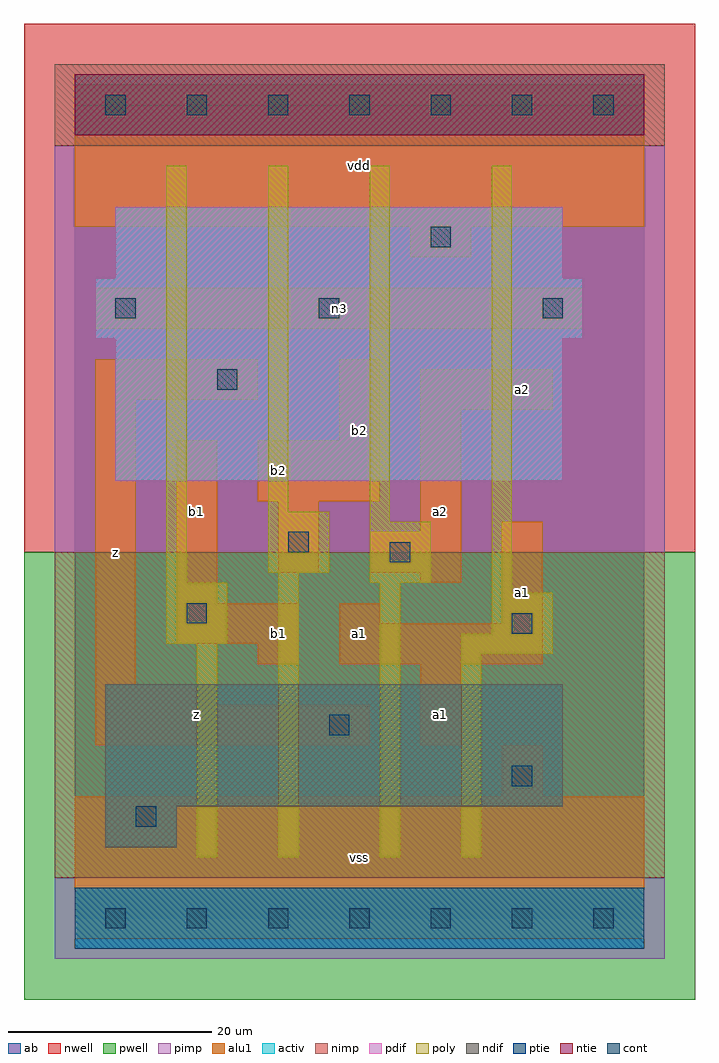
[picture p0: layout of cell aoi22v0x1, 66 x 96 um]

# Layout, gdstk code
import gdstk
lib = gdstk.Library(unit=1e-6, precision=1e-09)
def R(c, l, rs):  # rectangles x0, y0, x1, y1
    for r in rs: c.add(gdstk.rectangle(r[:2], r[2:], *l))
def A(c, l, x, y, w, h, nx, ny, dx, dy):  # array of equal rectangles
    R(c, l, [(x+i*dx, y+j*dy, x+i*dx+w, y+j*dy+h) for i in range(nx) for j in range(ny)])
ndif = (3, 0)
pdif = (4, 0)
ntie = (5, 0)
ptie = (6, 0)
cont = (25, 0)
pwell = (41, 0)
nwell = (42, 0)
activ = (43, 0)
pimp = (44, 0)
nimp = (45, 0)
poly = (46, 0)
alu1 = (49, 0)
ab = (63, 0)

aoi22v0x1 = lib.new_cell('aoi22v0x1')
R(aoi22v0x1, ndif, [(3,7,10,11), (3,11,48,23)])
R(aoi22v0x1, pdif, [(4,43,48,57), (2,57,50,63), (4,63,48,70)])
R(aoi22v0x1, ntie, [(0,77,56,83)])
R(aoi22v0x1, ptie, [(0,-3,56,3)])
A(aoi22v0x1, cont, 3, -1, 2, 2, 7, 2, 8, 80)
R(aoi22v0x1, cont, [(6,9,8,11), (43,13,45,15), (25,18,27,20), (43,28,45,30), (11,29,13,31), (31,35,33,37), (21,36,23,38), (14,52,16,54), (4,59,6,61), (24,59,26,61), (46,59,48,61), (35,66,37,68)])
R(aoi22v0x1, pwell, [(-5,-8,61,36)])
R(aoi22v0x1, nwell, [(-5,36,61,88)])
R(aoi22v0x1, activ, [(0,-3,56,3), (3,7,10,11), (3,11,48,23), (4,43,48,57), (2,57,50,63), (4,63,48,70), (0,77,56,83)])
R(aoi22v0x1, pimp, [(-2,-4,58,4), (-2,36,58,76)])
R(aoi22v0x1, nimp, [(-2,4,58,36), (-2,76,58,84)])
R(aoi22v0x1, poly, [(12,6,14,27), (20,6,22,34), (30,6,32,33), (38,6,40,26), (38,26,47,28), (9,27,15,33), (41,28,47,32), (41,32,43,74), (9,33,11,74), (29,33,35,39), (19,34,25,40), (29,39,31,74), (19,40,21,74)])
R(aoi22v0x1, alu1, [(0,-2,56,12), (42,12,46,17), (2,17,29,21), (34,17,38,25), (2,21,14,23), (2,23,6,51), (18,25,22,27), (26,25,46,29), (10,27,22,31), (26,29,30,31), (42,29,46,39), (10,31,14,47), (34,33,38,34), (20,34,24,41), (29,34,38,38), (34,38,38,50), (18,41,30,47), (26,47,30,55), (34,50,47,54), (2,51,18,55), (2,58,50,62), (33,65,39,68), (0,68,56,82)])
R(aoi22v0x1, ab, [(0,0,56,80)])
aoi22v0x1.add(gdstk.Label('n3', (26,60), layer=49, texttype=0))
aoi22v0x1.add(gdstk.Label('z', (4,36), layer=49, texttype=0))
aoi22v0x1.add(gdstk.Label('z', (12,20), layer=49, texttype=0))
aoi22v0x1.add(gdstk.Label('b1', (20,28), layer=49, texttype=0))
aoi22v0x1.add(gdstk.Label('b2', (20,44), layer=49, texttype=0))
aoi22v0x1.add(gdstk.Label('b1', (12,40), layer=49, texttype=0))
aoi22v0x1.add(gdstk.Label('vss', (28,6), layer=49, texttype=0))
aoi22v0x1.add(gdstk.Label('a1', (36,20), layer=49, texttype=0))
aoi22v0x1.add(gdstk.Label('a1', (28,28), layer=49, texttype=0))
aoi22v0x1.add(gdstk.Label('a2', (36,40), layer=49, texttype=0))
aoi22v0x1.add(gdstk.Label('b2', (28,48), layer=49, texttype=0))
aoi22v0x1.add(gdstk.Label('vdd', (28,74), layer=49, texttype=0))
aoi22v0x1.add(gdstk.Label('a1', (44,32), layer=49, texttype=0))
aoi22v0x1.add(gdstk.Label('a2', (44,52), layer=49, texttype=0))

lib.write_gds('aoi22v0x1.gds')
